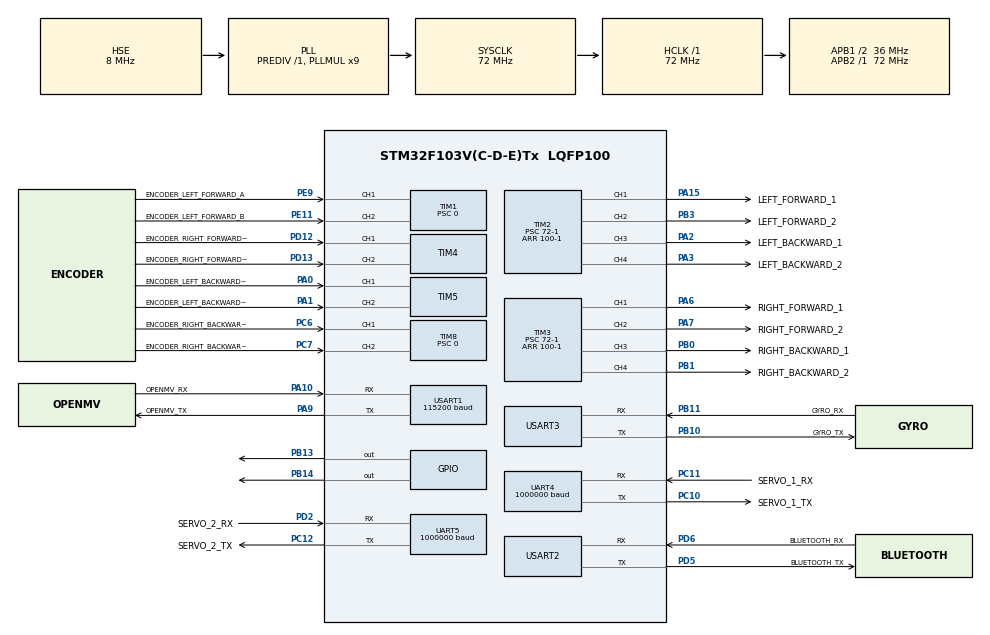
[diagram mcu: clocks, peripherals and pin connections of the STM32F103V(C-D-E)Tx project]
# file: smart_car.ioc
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Mcu.Family=STM32F1
Mcu.Name=STM32F103V(C-D-E)Tx
Mcu.Package=LQFP100
NVIC.PriorityGroup=NVIC_PRIORITYGROUP_4
OSC_IN.Mode=HSE-External-Oscillator
OSC_IN.Signal=RCC_OSC_IN
OSC_OUT.Mode=HSE-External-Oscillator
OSC_OUT.Signal=RCC_OSC_OUT
PA0-WKUP.GPIO_Label=ENCODER_LEFT_BACKWARD_A
PA0-WKUP.Signal=S_TIM5_CH1
PA1.GPIO_Label=ENCODER_LEFT_BACKWARD_B
PA1.Signal=S_TIM5_CH2
PA10.GPIO_Label=OPENMV_RX
PA10.Mode=Asynchronous
PA10.Signal=USART1_RX
PA13.Mode=Serial_Wire
PA13.Signal=SYS_JTMS-SWDIO
PA14.Mode=Serial_Wire
PA14.Signal=SYS_JTCK-SWCLK
PA15.GPIO_Label=LEFT_FORWARD_1
PA15.Signal=S_TIM2_CH1_ETR
PA2.GPIO_Label=LEFT_BACKWARD_1
PA2.Signal=S_TIM2_CH3
PA3.GPIO_Label=LEFT_BACKWARD_2
PA3.Signal=S_TIM2_CH4
PA6.GPIO_Label=RIGHT_FORWARD_1
PA6.Signal=S_TIM3_CH1
PA7.GPIO_Label=RIGHT_FORWARD_2
PA7.Signal=S_TIM3_CH2
PA9.GPIO_Label=OPENMV_TX
PA9.Mode=Asynchronous
PA9.Signal=USART1_TX
PB0.GPIO_Label=RIGHT_BACKWARD_1
PB0.Signal=S_TIM3_CH3
PB1.GPIO_Label=RIGHT_BACKWARD_2
PB1.Signal=S_TIM3_CH4
PB10.GPIO_Label=GYRO_TX
PB10.Mode=Asynchronous
PB10.Signal=USART3_TX
PB11.GPIO_Label=GYRO_RX
PB11.Mode=Asynchronous
PB11.Signal=USART3_RX
PB13.Signal=GPIO_Output
PB14.Signal=GPIO_Output
PB3.GPIO_Label=LEFT_FORWARD_2
PB3.Signal=S_TIM2_CH2
PC10.GPIO_Label=SERVO_1_TX
PC10.Mode=Asynchronous
PC10.Signal=UART4_TX
PC11.GPIO_Label=SERVO_1_RX
PC11.Mode=Asynchronous
PC11.Signal=UART4_RX
PC12.GPIO_Label=SERVO_2_TX
PC12.Mode=Asynchronous
PC12.Signal=UART5_TX
PC6.GPIO_Label=ENCODER_RIGHT_BACKWARD_A
PC6.Signal=S_TIM8_CH1
PC7.GPIO_Label=ENCODER_RIGHT_BACKWARD_B
PC7.Signal=S_TIM8_CH2
PD12.GPIO_Label=ENCODER_RIGHT_FORWARD_A
PD12.Signal=S_TIM4_CH1
PD13.GPIO_Label=ENCODER_RIGHT_FORWARD_B
PD13.Signal=S_TIM4_CH2
PD2.GPIO_Label=SERVO_2_RX
PD2.Mode=Asynchronous
PD2.Signal=UART5_RX
PD5.GPIO_Label=BLUETOOTH_TX
PD5.Mode=Asynchronous
PD5.Signal=USART2_TX
PD6.GPIO_Label=BLUETOOTH_RX
PD6.Mode=Asynchronous
PD6.Signal=USART2_RX
PE11.GPIO_Label=ENCODER_LEFT_FORWARD_B
PE11.Signal=S_TIM1_CH2
PE9.GPIO_Label=ENCODER_LEFT_FORWARD_A
PE9.Signal=S_TIM1_CH1
ProjectManager.HeapSize=0x200
ProjectManager.StackSize=0x400
ProjectManager.TargetToolchain=STM32CubeIDE
RCC.AHBFreq_Value=72000000
RCC.APB1CLKDivider=RCC_HCLK_DIV2
RCC.APB1Freq_Value=36000000
RCC.APB1TimFreq_Value=72000000
RCC.APB2Freq_Value=72000000
RCC.APB2TimFreq_Value=72000000
RCC.HCLKFreq_Value=72000000
RCC.PLLMUL=RCC_PLL_MUL9
RCC.PLLSourceVirtual=RCC_PLLSOURCE_HSE
RCC.SYSCLKFreq_VALUE=72000000
RCC.SYSCLKSource=RCC_SYSCLKSOURCE_PLLCLK
RCC.USBFreq_Value=72000000
SH.S_TIM1_CH1.0=TIM1_CH1,Encoder_Interface
SH.S_TIM1_CH2.0=TIM1_CH2,Encoder_Interface
SH.S_TIM2_CH1_ETR.0=TIM2_CH1,PWM Generation1 CH1
SH.S_TIM2_CH2.0=TIM2_CH2,PWM Generation2 CH2
SH.S_TIM2_CH3.0=TIM2_CH3,PWM Generation3 CH3
SH.S_TIM2_CH4.0=TIM2_CH4,PWM Generation4 CH4
SH.S_TIM3_CH1.0=TIM3_CH1,PWM Generation1 CH1
SH.S_TIM3_CH2.0=TIM3_CH2,PWM Generation2 CH2
SH.S_TIM3_CH3.0=TIM3_CH3,PWM Generation3 CH3
SH.S_TIM3_CH4.0=TIM3_CH4,PWM Generation4 CH4
SH.S_TIM4_CH1.0=TIM4_CH1,Encoder_Interface
SH.S_TIM4_CH2.0=TIM4_CH2,Encoder_Interface
SH.S_TIM5_CH1.0=TIM5_CH1,Encoder_Interface
SH.S_TIM5_CH2.0=TIM5_CH2,Encoder_Interface
SH.S_TIM8_CH1.0=TIM8_CH1,Encoder_Interface
SH.S_TIM8_CH2.0=TIM8_CH2,Encoder_Interface
TIM1.EncoderMode=TIM_ENCODERMODE_TI12
TIM1.IC1Filter=15
TIM1.IC2Filter=15
TIM1.IC2Polarity=TIM_ICPOLARITY_RISING
TIM1.Prescaler=0
TIM2.Channel-PWM\ Generation1\ CH1=TIM_CHANNEL_1
TIM2.Channel-PWM\ Generation2\ CH2=TIM_CHANNEL_2
TIM2.Channel-PWM\ Generation3\ CH3=TIM_CHANNEL_3
TIM2.Channel-PWM\ Generation4\ CH4=TIM_CHANNEL_4
TIM2.Period=100-1
TIM2.Prescaler=72-1
TIM3.Channel-PWM\ Generation1\ CH1=TIM_CHANNEL_1
TIM3.Channel-PWM\ Generation2\ CH2=TIM_CHANNEL_2
TIM3.Channel-PWM\ Generation3\ CH3=TIM_CHANNEL_3
TIM3.Channel-PWM\ Generation4\ CH4=TIM_CHANNEL_4
TIM3.Period=100-1
TIM3.Prescaler=72-1
TIM4.EncoderMode=TIM_ENCODERMODE_TI12
TIM4.IC1Filter=15
TIM4.IC1Polarity=TIM_ICPOLARITY_RISING
TIM4.IC2Filter=15
TIM5.EncoderMode=TIM_ENCODERMODE_TI12
TIM5.IC1Filter=15
TIM5.IC2Filter=15
TIM8.EncoderMode=TIM_ENCODERMODE_TI12
TIM8.IC1Filter=15
TIM8.IC1Polarity=TIM_ICPOLARITY_RISING
TIM8.IC2Filter=15
TIM8.IC2Polarity=TIM_ICPOLARITY_RISING
TIM8.Prescaler=0
UART4.BaudRate=1000000
UART4.VirtualMode=Asynchronous
UART5.BaudRate=1000000
UART5.VirtualMode=Asynchronous
USART1.BaudRate=115200
USART1.VirtualMode=VM_ASYNC
USART2.VirtualMode=VM_ASYNC
USART3.VirtualMode=VM_ASYNC
VP_TIM2_VS_ClockSourceINT.Mode=Internal
VP_TIM3_VS_ClockSourceINT.Mode=Internal
board=custom

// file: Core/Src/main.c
/* USER CODE BEGIN Header */
/**
  ******************************************************************************
  * @file           : main.c
  * @brief          : Main program body
  ******************************************************************************
  * @attention
  *
  * Copyright (c) 2026 STMicroelectronics.
  * All rights reserved.
  *
  * This software is licensed under terms that can be found in the LICENSE file
  * in the root directory of this software component.
  * If no LICENSE file comes with this software, it is provided AS-IS.
  *
  ******************************************************************************
  */
/* USER CODE END Header */
#include "main.h"
#include "tim.h"
#include "usart.h"
#include "gpio.h"

/* USER CODE BEGIN Includes */
#include "drv8833.h"
/* USER CODE END Includes */

void SystemClock_Config(void);

int main(void)
{

  /* MCU Configuration--------------------------------------------------------*/

  /* Reset of all peripherals, Initializes the Flash interface and the Systick. */
  HAL_Init();

  /* Configure the system clock */
  SystemClock_Config();

  /* Initialize all configured peripherals */
  MX_GPIO_Init();
  MX_TIM2_Init();
  MX_TIM3_Init();
  MX_UART4_Init();
  MX_UART5_Init();
  MX_USART1_UART_Init();
  MX_USART2_UART_Init();
  MX_USART3_UART_Init();
  MX_TIM1_Init();
  MX_TIM4_Init();
  MX_TIM5_Init();
  MX_TIM8_Init();
  /* USER CODE BEGIN 2 */
  int count_1 = 0;
  int count_2 = 0;
  int count_3 = 0;
  int count_4 = 0;
  int mode = 1;
  //左前轮速度
  HAL_TIM_Encoder_Start(&htim1, TIM_CHANNEL_ALL);
  //左后轮速度
  HAL_TIM_Encoder_Start(&htim5, TIM_CHANNEL_ALL);
  //右前轮速度
  HAL_TIM_Encoder_Start(&htim4, TIM_CHANNEL_ALL);
  //右后轮速度
  HAL_TIM_Encoder_Start(&htim8, TIM_CHANNEL_ALL);
  DRV8833_Init();
  int left_forward_speed = 50;
  int left_backward_speed = 50;
  int right_forward_speed = 50;
  int right_backward_speed = 50;
  DRV8833_1_Forward(left_forward_speed);
  DRV8833_2_Forward(left_backward_speed);
  DRV8833_3_Backward(right_forward_speed);
  DRV8833_4_Forward(right_backward_speed);
  /* USER CODE END 2 */

  /* Infinite loop */
  /* USER CODE BEGIN WHILE */
  while (1)
  {
	  	  if (mode ==  1){
	  		  count_1 = __HAL_TIM_GET_COUNTER(&htim1);
	  		  count_2 = __HAL_TIM_GET_COUNTER(&htim5);
	  		  count_3 = __HAL_TIM_GET_COUNTER(&htim4);
	  		  count_4 = __HAL_TIM_GET_COUNTER(&htim8);
	  		  if(count_1 < 11){
	  			  if(left_forward_speed < 100){
	  				  left_forward_speed ++;
	  			  }
	  			  DRV8833_1_Forward(left_forward_speed);
	  		  }
		 		else if(count_1 > 11){
		 			  if(left_forward_speed > 0){
		 				 left_forward_speed --;
		 		      }
		 			  DRV8833_1_Forward(left_forward_speed);
		 		}
		  if(count_2 < 11){
			  if(left_backward_speed < 100){
				  left_backward_speed ++;
			  }
			  DRV8833_2_Forward(left_backward_speed);
		 		  }
		 		  else if(count_2 > 11){
		 			  if(left_backward_speed > 0){
		 				 left_backward_speed --;
		 			  }
		 			  DRV8833_2_Forward(left_backward_speed);
		 		  }
		  if(count_3 < 11){
			  if(right_forward_speed < 100){
				  right_forward_speed ++;
			  }
		 			  DRV8833_3_Forward(right_forward_speed);
		 		  }
		 		  else if(count_3 > 11){
		 			  if(right_forward_speed > 0){
		 				 right_forward_speed --;
		 			  }
		 			  DRV8833_3_Forward(right_forward_speed);
		 		  }
		  if(count_4 < 11){
					  if(right_backward_speed< 100){
						  right_backward_speed ++;
					  }
					  DRV8833_4_Forward(right_backward_speed);

		  }
				  else if(count_4 > 11){
					  if(right_backward_speed>0){
						  right_backward_speed --;
					  }
					  DRV8833_4_Forward(right_backward_speed);
				  }
		  __HAL_TIM_SET_COUNTER(&htim1, 0);
		  __HAL_TIM_SET_COUNTER(&htim5, 0);
		  __HAL_TIM_SET_COUNTER(&htim4, 0);
		  __HAL_TIM_SET_COUNTER(&htim8, 0);
	  }
	  if(mode == 2){
  		  count_1 = __HAL_TIM_GET_COUNTER(&htim1);
  		  count_2 = __HAL_TIM_GET_COUNTER(&htim5);
  		  count_3 = __HAL_TIM_GET_COUNTER(&htim4);
  		  count_4 = __HAL_TIM_GET_COUNTER(&htim8);
		  		  if(count_1 < 11){
		  			  if(left_forward_speed < 100){
		  				  left_forward_speed ++;
		  			  }
		  		 			  DRV8833_1_Forward(left_forward_speed);
		  		 		  }
		  		 		  else if(count_1 > 11){
		  		 			  if(left_forward_speed > 0){
		  		 				 left_forward_speed --;
		  		 			  }
		  		 			  DRV8833_1_Forward(left_forward_speed);
		  		 		  }
		  		  if(count_2 > 65525 || count_2 == 0){
		  			  if(left_backward_speed < 100){
		  				  left_backward_speed ++;
		  			  }
		  			DRV8833_2_Backward(left_backward_speed);
		  		 		  }
		  		 		  else if(count_2 < 65525){
		  		 			  if(left_backward_speed > 0){
		  		 				 left_backward_speed --;
		  		 			  }
				  			  DRV8833_2_Backward(left_backward_speed);
		  		 		  }
		  		  if(count_3 > 65525 || count_3 == 0){
		  			  if(right_forward_speed < 100){
		  				  right_forward_speed ++;
		  			  }
		  		 			  DRV8833_3_Backward(right_forward_speed);
		  		 		  }
		  		 		  else if(count_3 < 65525){
		  		 			  if(right_forward_speed > 0){
		  		 				 right_forward_speed --;
		  		 			  }
		  		 			  DRV8833_3_Backward(right_forward_speed);
		  		 		  }
		  		  if(count_4 < 11){
		  					  if(right_backward_speed< 100){
		  						  right_backward_speed ++;
		  					  }
		  					  DRV8833_4_Forward(right_backward_speed);
		  		  }
		  				  else if(count_4 > 11){
		  					  if(right_backward_speed>0){
		  						  right_backward_speed --;
		  					  }
		  					  DRV8833_4_Forward(right_backward_speed);
		  				  }
		  		  __HAL_TIM_SET_COUNTER(&htim1, 0);
		  		  __HAL_TIM_SET_COUNTER(&htim5, 0);
		  		  __HAL_TIM_SET_COUNTER(&htim4, 0);
		  		  __HAL_TIM_SET_COUNTER(&htim8, 0);
	  }
	  if(mode == 3){
	  		  count_1 = __HAL_TIM_GET_COUNTER(&htim1);
	  		  count_2 = __HAL_TIM_GET_COUNTER(&htim5);
	  		  count_3 = __HAL_TIM_GET_COUNTER(&htim4);
	  		  count_4 = __HAL_TIM_GET_COUNTER(&htim8);
			  		  if(count_1 < 11){
			  			  if(left_forward_speed < 100){
			  				  left_forward_speed ++;
			  			  }
			  		 			  DRV8833_1_Forward(left_forward_speed);
			  		 		  }
			  		 		  else if(count_1 > 11){
			  		 			  if(left_forward_speed > 0){
			  		 				 left_forward_speed --;
			  		 			  }
			  		 			  DRV8833_1_Forward(left_forward_speed);
			  		 		  }
			  		  if(count_2 > 65525 || count_2 == 0){
			  			  if(left_backward_speed < 100){
			  				  left_backward_speed ++;
			  			  }
			  			DRV8833_2_Backward(left_backward_speed);
			  		 		  }
			  		 		  else if(count_2 < 65525){
			  		 			  if(left_backward_speed > 0){
			  		 				 left_backward_speed --;
			  		 			  }
					  			  DRV8833_2_Backward(left_backward_speed);
			  		 		  }
			  		  if(count_3 < 11 ){
			  			  if(right_forward_speed < 100){
			  				  right_forward_speed ++;
			  			  }
			  		 			  DRV8833_3_Forward(right_forward_speed);
			  		 		  }
			  		 		  else if(count_3 > 11){
			  		 			  if(right_forward_speed > 0){
			  		 				 right_forward_speed --;
			  		 			  }
			  		 			  DRV8833_3_Forward(right_forward_speed);
			  		 		  }
			  		  if(count_4 > 65525 || count_4 == 0){
			  					  if(right_backward_speed< 100){
			  						  right_backward_speed ++;
			  					  }
			  					  DRV8833_4_Backward(right_backward_speed);
			  		  }
			  				  else if(count_4 < 65525){
			  					  if(right_backward_speed>0){
			  						  right_backward_speed --;
			  					  }
			  					  DRV8833_4_Backward(right_backward_speed);
			  				  }
			  		  __HAL_TIM_SET_COUNTER(&htim1, 0);
			  		  __HAL_TIM_SET_COUNTER(&htim5, 0);
			  		  __HAL_TIM_SET_COUNTER(&htim4, 0);
			  		  __HAL_TIM_SET_COUNTER(&htim8, 0);
		  }
	  if(mode == 0){
		  DRV8833_1_Brake();
		  DRV8833_2_Brake();
		  DRV8833_3_Brake();
		  DRV8833_4_Brake();
	  }
	  HAL_Delay(12);
}
    /* USER CODE END WHILE */

}

void SystemClock_Config(void)
{
  RCC_OscInitTypeDef RCC_OscInitStruct = {0};
  RCC_ClkInitTypeDef RCC_ClkInitStruct = {0};

  /** Initializes the RCC Oscillators according to the specified parameters
  * in the RCC_OscInitTypeDef structure.
  */
  RCC_OscInitStruct.OscillatorType = RCC_OSCILLATORTYPE_HSE;
  RCC_OscInitStruct.HSEState = RCC_HSE_ON;
  RCC_OscInitStruct.HSEPredivValue = RCC_HSE_PREDIV_DIV1;
  RCC_OscInitStruct.HSIState = RCC_HSI_ON;
  RCC_OscInitStruct.PLL.PLLState = RCC_PLL_ON;
  RCC_OscInitStruct.PLL.PLLSource = RCC_PLLSOURCE_HSE;
  RCC_OscInitStruct.PLL.PLLMUL = RCC_PLL_MUL9;
  if (HAL_RCC_OscConfig(&RCC_OscInitStruct) != HAL_OK)
  {
    Error_Handler();
  }

  /** Initializes the CPU, AHB and APB buses clocks
  */
  RCC_ClkInitStruct.ClockType = RCC_CLOCKTYPE_HCLK|RCC_CLOCKTYPE_SYSCLK
                              |RCC_CLOCKTYPE_PCLK1|RCC_CLOCKTYPE_PCLK2;
  RCC_ClkInitStruct.SYSCLKSource = RCC_SYSCLKSOURCE_PLLCLK;
  RCC_ClkInitStruct.AHBCLKDivider = RCC_SYSCLK_DIV1;
  RCC_ClkInitStruct.APB1CLKDivider = RCC_HCLK_DIV2;
  RCC_ClkInitStruct.APB2CLKDivider = RCC_HCLK_DIV1;

  if (HAL_RCC_ClockConfig(&RCC_ClkInitStruct, FLASH_LATENCY_2) != HAL_OK)
  {
    Error_Handler();
  }
}

void Error_Handler(void)
{
  __disable_irq();
  while (1)
  {
  }
}
